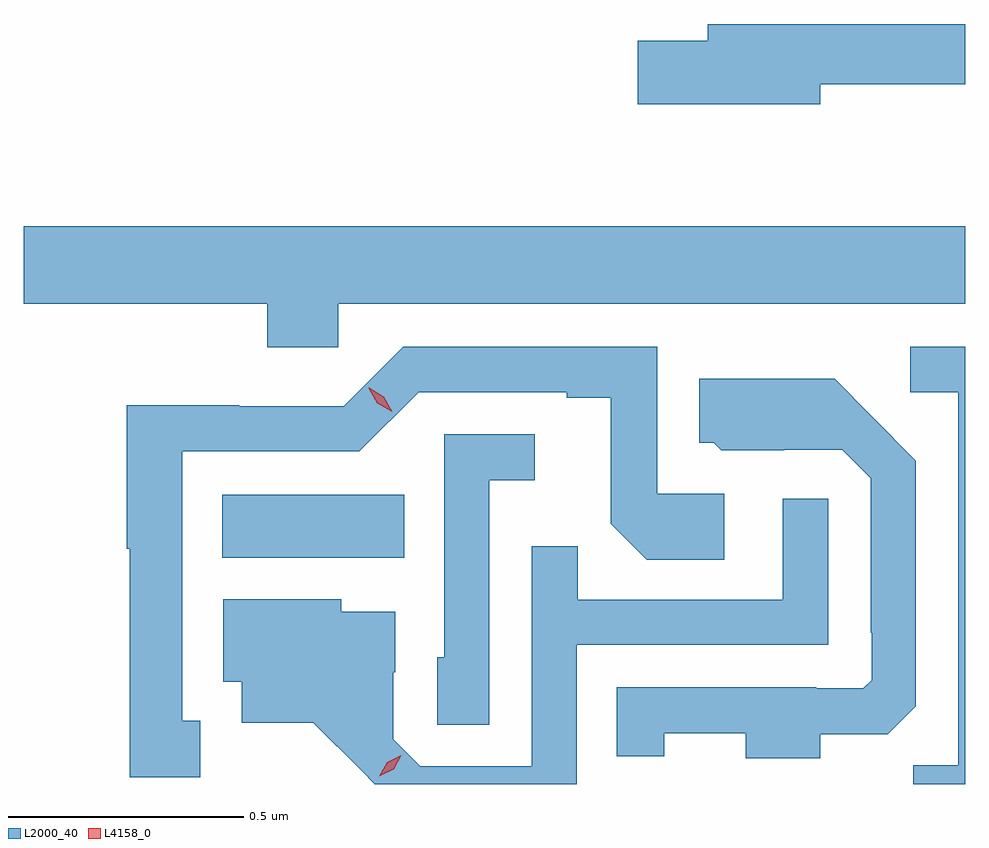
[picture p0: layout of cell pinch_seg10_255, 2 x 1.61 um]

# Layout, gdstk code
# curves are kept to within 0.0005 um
import gdstk
lib = gdstk.Library(unit=1e-6, precision=1e-09)
def R(c, l, rs):  # rectangles x0, y0, x1, y1
    for r in rs: c.add(gdstk.rectangle(r[:2], r[2:], *l))
def P(c, l, *ps):  # polygons
    for p in ps: c.add(gdstk.Polygon(p, *l))
L2000_40 = (2000, 40)
L4158_0 = (4158, 0)

pinch_seg10_255 = lib.new_cell('pinch_seg10_255')
R(pinch_seg10_255, L2000_40, [(610.673,1301.108,611.06,1301.242)])
P(pinch_seg10_255, L2000_40, [(611.944,1302.114),(612.252,1302.114),(612.252,1302.242),(611.705,1302.242),(611.705,1302.206),(611.556,1302.206),(611.556,1302.071),(611.944,1302.071)],
  [(610.92,1301.648),(612.252,1301.648),(612.252,1301.812),(610.252,1301.812),(610.252,1301.648),(610.769,1301.648),(610.769,1301.555),(610.92,1301.555)],
  [(610.627,1300.761),(610.588,1300.761),(610.588,1301.334),(610.965,1301.334),(611.091,1301.46),(611.405,1301.46),(611.405,1301.448),(611.499,1301.448),(611.499,1301.18),(611.575,1301.104),(611.74,1301.104),(611.74,1301.244),(611.598,1301.244),(611.598,1301.556),(611.058,1301.556),(610.932,1301.43),(610.71,1301.43),(610.71,1301.432),(610.47,1301.432),(610.47,1301.127),(610.477,1301.127),(610.477,1300.641),(610.627,1300.641)],
  [(612.252,1301.556),(612.135,1301.556),(612.135,1301.46),(612.237,1301.46),(612.237,1300.667),(612.142,1300.667),(612.142,1300.627),(612.252,1300.627)],
  [(611.944,1300.733),(612.088,1300.733),(612.147,1300.792),(612.147,1301.314),(611.975,1301.488),(611.687,1301.488),(611.687,1301.352),(611.718,1301.352),(611.734,1301.336),(611.868,1301.336),(611.868,1301.337),(611.991,1301.337),(612.051,1301.277),(612.051,1300.948),(612.054,1300.948),(612.054,1300.848),(612.036,1300.83),(611.936,1300.83),(611.936,1300.833),(611.512,1300.833),(611.512,1300.686),(611.613,1300.686),(611.613,1300.735),(611.786,1300.735),(611.786,1300.682),(611.944,1300.682)],
  [(611.241,1301.273),(611.338,1301.273),(611.338,1301.37),(611.145,1301.37),(611.145,1300.896),(611.13,1300.896),(611.13,1300.753),(611.241,1300.753)],
  [(611.427,1300.923),(611.961,1300.923),(611.961,1301.233),(611.865,1301.233),(611.865,1301.019),(611.429,1301.019),(611.429,1301.132),(611.331,1301.132),(611.331,1300.665),(611.094,1300.665),(611.037,1300.722),(611.037,1300.864),(611.041,1300.864),(611.041,1300.993),(610.926,1300.993),(610.926,1301.02),(610.676,1301.02),(610.676,1300.844),(610.715,1300.844),(610.715,1300.757),(610.867,1300.757),(610.998,1300.627),(611.427,1300.627)])
P(pinch_seg10_255, L4158_0, [(611.007,1300.643),(611.007,1300.643),(611.024,1300.673),(611.054,1300.688),(611.054,1300.688),(611.054,1300.688),(611.038,1300.658),(611.007,1300.643)],
  [(611.035,1301.418),(611.003,1301.436),(610.985,1301.468),(610.985,1301.469),(610.986,1301.469),(611.017,1301.45),(611.035,1301.418),(611.035,1301.418)])

lib.write_gds('pinch_seg10_255.gds')
